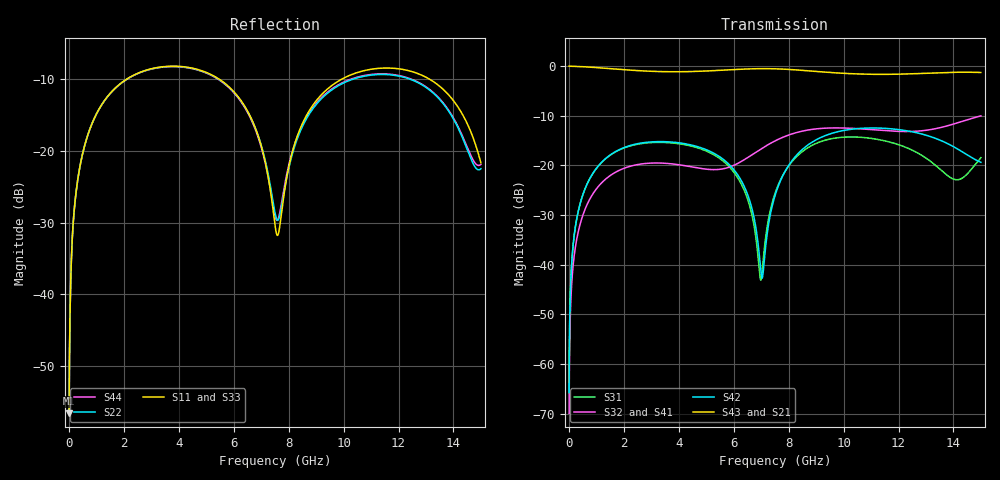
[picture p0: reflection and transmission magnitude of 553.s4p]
! Created with skrf 1.8.0 (http://scikit-rf.org).
# GHz S RI R 50.0
!freq ReS11 ImS11 ReS12 ImS12 ReS13 ImS13
! ReS14 ImS14
! ReS21 ImS21 ReS22 ImS22 ReS23 ImS23
! ReS24 ImS24
! ReS31 ImS31 ReS32 ImS32 ReS33 ImS33
! ReS34 ImS34
! ReS41 ImS41 ReS42 ImS42 ReS43 ImS43
! ReS44 ImS44
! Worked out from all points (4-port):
!   2499 points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, 5 MHz to 15 GHz, reference 50 ohm
!   strongest paths, dB at 5 MHz, 3.476 GHz, 7.19 GHz, 11.1 GHz, 15 GHz:
!     S43: 0.0, -1.1, -0.5, -1.6, -1.3
!     S21: 0.0, -1.1, -0.5, -1.6, -1.3
!     S42: -65.7, -15.2, -34.9, -12.5, -19.4
!     S32: -69.9, -19.6, -16.0, -12.8, -10.0
!     S41: -69.9, -19.6, -16.0, -12.8, -10.0
!     S31: -65.7, -15.4, -33.3, -14.6, -18.4
!   lowest |S11| = -56.6 dB at 5 MHz (marker M1), VSWR 1.00, Z = 50.1 + j0.0895 ohm
!   |S11| at or under -10 dB: start of sweep to 2.107 GHz; 5.461 GHz to 9.941 GHz (4.48 GHz wide, 58.2 % of centre); 13.12 GHz to end of sweep
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0.005  0.00118 0.000893  0.9988 -0.00231  5.97e-05 0.000514  -5.78e-05 -0.000314
       0.9988 -0.00231  0.00118 0.000893  -5.78e-05 -0.000314  5.98e-05 0.000514
       5.97e-05 0.000514  -5.78e-05 -0.000314  0.00118 0.000893  0.9988 -0.00231
       -5.78e-05 -0.000314  5.98e-05 0.000514  0.9988 -0.00231  0.00118 0.000893
0.4126719  0.0212 0.0774  0.9707 -0.189  0.0106 0.0405  -0.00883 -0.0245
           0.9707 -0.189  0.0211 0.0774  -0.00883 -0.0245  0.0109 0.0404
           0.0106 0.0405  -0.00883 -0.0245  0.0212 0.0774  0.9707 -0.189
           -0.00883 -0.0245  0.0109 0.0404  0.9707 -0.189  0.0211 0.0774
2.075865  0.2568 0.1796  0.5745 -0.7148  0.1326 0.0752  -0.0946 -0.0102
          0.5745 -0.7148  0.2551 0.1806  -0.0946 -0.0102  0.1375 0.069
          0.1326 0.0752  -0.0946 -0.0102  0.2567 0.1795  0.5746 -0.7148
          -0.0946 -0.0102  0.1375 0.069  0.5746 -0.7148  0.255 0.1805
6.98416  0.0486 -0.1002  -0.8884 -0.3148  -0.0068 -0.00168  -0.0446 0.1391
         -0.8884 -0.3148  0.0558 -0.0973  -0.0438 0.1394  -0.00715 -0.00507
         -0.0068 -0.00168  -0.0438 0.1394  0.0471 -0.0969  -0.889 -0.3143
         -0.0446 0.1391  -0.00715 -0.00507  -0.889 -0.3143  0.0549 -0.0938
7.58441  0.0256 -0.00293  -0.9356 -0.0685  -0.0017 0.0602  -0.00867 0.1809
         -0.9356 -0.0685  0.0326 -0.00454  -0.00763 0.181  0.0103 0.0571
         -0.0017 0.0602  -0.00763 0.181  0.0249 0.00102  -0.9357 -0.0678
         -0.00867 0.1809  0.0103 0.0571  -0.9357 -0.0678  0.0328 -0.000423
10.35431  0.326 0.1079  -0.4227 0.724  0.1847 0.0579  0.2309 0.0466
          -0.4227 0.724  0.2969 0.1082  0.2316 0.045  0.2311 -0.0271
          0.1847 0.0579  0.2316 0.045  0.3281 0.1103  -0.4233 0.7224
          0.2309 0.0466  0.2311 -0.0271  -0.4233 0.7224  0.3003 0.11
15  0.04 -0.0721  0.834 0.2199  0.0866 0.0827  0.0788 -0.3054
    0.834 0.2199  0.0737 0.0135  0.0765 -0.3062  -0.1073 0.00616
    0.0866 0.0827  0.0765 -0.3062  0.0353 -0.0747  0.8324 0.2257
    0.0788 -0.3054  -0.1073 0.00616  0.8324 0.2257  0.0792 0.0137
